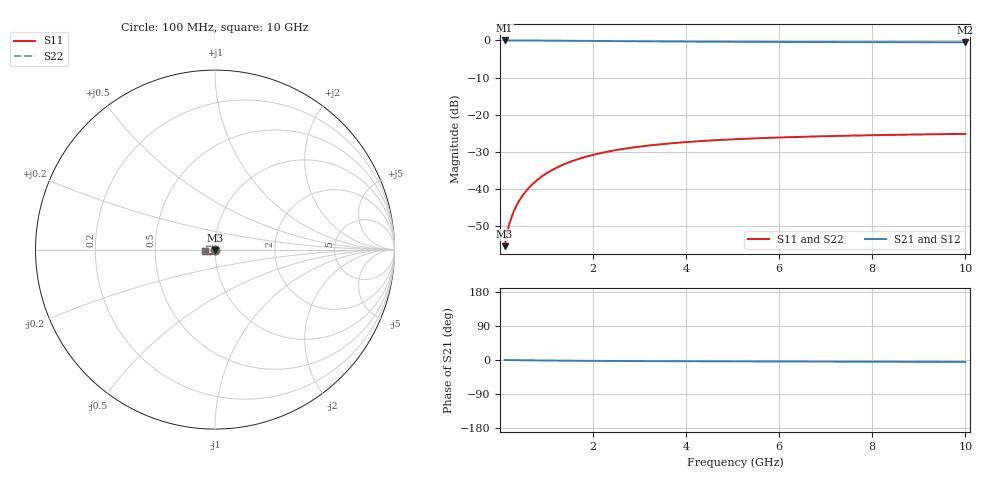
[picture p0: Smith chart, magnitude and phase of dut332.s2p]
! Touchstone file exported from HFSS 2024.1.0
!  File:  C:/UserFiles/LocalFiles/RDL_TSV_Batchsim/temp_TSV1_332_1779617923.aedt
!  Generated:  06:26:34 PM May 24, 2026
!  Design:  TSV1
!  Project:  temp_TSV1_332_1779617923
!  Setup:  Setup1
!  Solution:  Sweep
! Variables:
!  dtsv = 14.09um
!  hbump = 3um
!  htsv = 77.45um
!  lrdl = 252.1521522um
!  p = 40
!  p1 = 55um
!  t = 500um
!  trdl = 3um
!  wrdl = 24.89489489um
# GHz S MA R 50.000000
! Terminal data exported
! Port[1] = TSV22_T1
! Port[2] = TSV22_T2
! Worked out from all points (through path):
!   100 points, 100 MHz to 10 GHz, reference 50 ohm
!   highest |S21| = 0.00 dB at 100 MHz (marker M1); lowest = -0.5 dB at 10 GHz (marker M2)
!   lowest |S11| = -55.5 dB at 100 MHz (marker M3), VSWR 1.00, Z = 50 - j0.168 ohm
!   |S11| at or under -10 dB: start of sweep to end of sweep
!   |S22| runs from -55.5 to -25.2 dB; largest |S21 - S12| = 3.2e-15
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0.1  0.001683 -89.1  0.9999 -0.1  0.9999 -0.1  0.001683 -89.1
! Gamma 0 0 0 0
! Port Impedance 50 0 50 0
0.2  0.003364 -92.2  0.9997 -0.3  0.9997 -0.3  0.003364 -92.2
0.3  0.005042 -94.5  0.9994 -0.4  0.9994 -0.4  0.005042 -94.5
0.4  0.006708 -96.6  0.999 -0.6  0.999 -0.6  0.006708 -96.6
0.5  0.008357 -98.6  0.9985 -0.7  0.9985 -0.7  0.008357 -98.6
0.6  0.009982 -100.5  0.9979 -0.8  0.9979 -0.8  0.009982 -100.5
0.7  0.01158 -102.4  0.9972 -1.0  0.9972 -1.0  0.01158 -102.4
0.8  0.01314 -104.3  0.9965 -1.1  0.9965 -1.1  0.01314 -104.3
0.9  0.01467 -106.1  0.9957 -1.2  0.9957 -1.2  0.01467 -106.1
1.1  0.0176 -109.6  0.9939 -1.5  0.9939 -1.5  0.0176 -109.6
1.4  0.02168 -114.5  0.9908 -1.8  0.9908 -1.8  0.02168 -114.5
1.6  0.02418 -117.6  0.9887 -2.0  0.9887 -2.0  0.02418 -117.6
1.8  0.02649 -120.5  0.9865 -2.1  0.9865 -2.1  0.02649 -120.5
2.1  0.02963 -124.6  0.9832 -2.4  0.9832 -2.4  0.02963 -124.6
2.5  0.03326 -129.6  0.9789 -2.6  0.9789 -2.6  0.03326 -129.6
2.9  0.03632 -133.9  0.9749 -2.8  0.9749 -2.8  0.03632 -133.9
3.4  0.0395 -138.7  0.9705 -3.1  0.9705 -3.1  0.0395 -138.7
4.2  0.04345 -145.1  0.9645 -3.4  0.9645 -3.4  0.04345 -145.1
5.1  0.0467 -151.0  0.9592 -3.7  0.9592 -3.7  0.0467 -151.0
6.7  0.05061 -159.1  0.9526 -4.1  0.9526 -4.1  0.05061 -159.1
8.4  0.05327 -165.7  0.948 -4.6  0.948 -4.6  0.05327 -165.7
10  0.055 -170.7  0.945 -5.1  0.945 -5.1  0.055 -170.7
